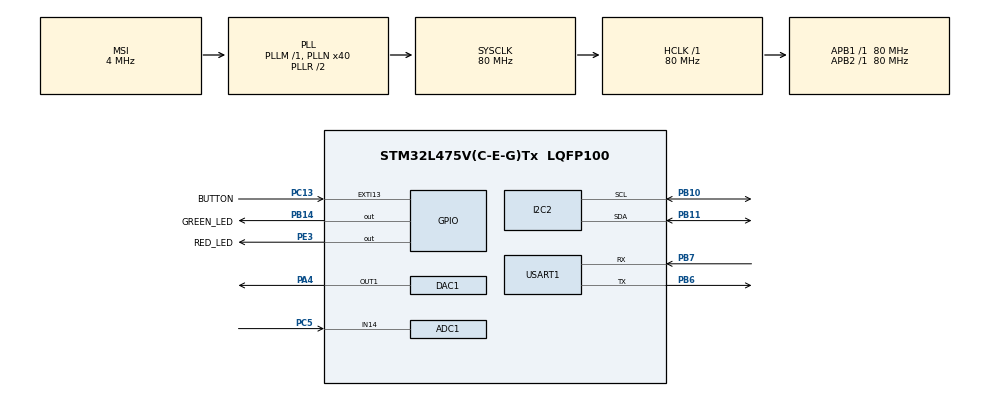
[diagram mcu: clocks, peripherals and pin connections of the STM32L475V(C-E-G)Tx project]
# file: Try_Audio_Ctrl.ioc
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ADC1.Channel-1\#ChannelRegularConversion=ADC_CHANNEL_14
ADC1.ContinuousConvMode=DISABLE
ADC1.EOCSelection=ADC_EOC_SINGLE_CONV
ADC1.NbrOfConversion=1
ADC1.NbrOfConversionFlag=1
ADC1.OffsetNumber-1\#ChannelRegularConversion=ADC_OFFSET_NONE
ADC1.Rank-1\#ChannelRegularConversion=1
ADC1.Resolution=ADC_RESOLUTION_8B
ADC1.SamplingTime-1\#ChannelRegularConversion=ADC_SAMPLETIME_2CYCLES_5
ADC1.master=1
DAC1.DAC_Trigger-DAC_OUT1=DAC_TRIGGER_T2_TRGO
Dma.DAC_CH1.0.Direction=DMA_MEMORY_TO_PERIPH
Dma.DAC_CH1.0.Instance=DMA1_Channel3
Dma.DAC_CH1.0.MemDataAlignment=DMA_MDATAALIGN_BYTE
Dma.DAC_CH1.0.MemInc=DMA_MINC_ENABLE
Dma.DAC_CH1.0.Mode=DMA_CIRCULAR
Dma.DAC_CH1.0.PeriphDataAlignment=DMA_PDATAALIGN_BYTE
Dma.DAC_CH1.0.PeriphInc=DMA_PINC_DISABLE
Dma.DAC_CH1.0.Priority=DMA_PRIORITY_LOW
Dma.Request0=DAC_CH1
I2C2.Timing=0x10909CEC
Mcu.Family=STM32L4
Mcu.Name=STM32L475V(C-E-G)Tx
Mcu.Package=LQFP100
NVIC.DMA1_Channel3_IRQn=true\:0\:0\:false\:false\:true\:false\:true
NVIC.EXTI15_10_IRQn=true\:0\:0\:false\:false\:true\:true\:true
NVIC.PriorityGroup=NVIC_PRIORITYGROUP_4
NVIC.TIM2_IRQn=true\:0\:0\:false\:false\:true\:true\:true
PA13\ (JTMS-SWDIO).Signal=SYS_JTMS-SWDIO
PA4.Signal=COMP_DAC11_group
PB10.Mode=I2C
PB10.Signal=I2C2_SCL
PB11.Mode=I2C
PB11.Signal=I2C2_SDA
PB14.GPIO_Label=GREEN_LED
PB14.Signal=GPIO_Output
PB3\ (JTDO-TRACESWO).Signal=SYS_JTDO-SWO
PB6.Mode=Asynchronous
PB6.Signal=USART1_TX
PB7.Mode=Asynchronous
PB7.Signal=USART1_RX
PC13.GPIO_Label=BUTTON
PC13.Signal=GPXTI13
PC5.Signal=ADCx_IN14
PE3.GPIO_Label=RED_LED
PE3.Signal=GPIO_Output
ProjectManager.HeapSize=0x200
ProjectManager.StackSize=0x400
ProjectManager.TargetToolchain=STM32CubeIDE
RCC.ADCFreq_Value=48000000
RCC.AHBFreq_Value=80000000
RCC.APB1Freq_Value=80000000
RCC.APB1TimFreq_Value=80000000
RCC.APB2Freq_Value=80000000
RCC.APB2TimFreq_Value=80000000
RCC.CortexFreq_Value=80000000
RCC.HCLKFreq_Value=80000000
RCC.HSE_VALUE=8000000
RCC.HSI_VALUE=16000000
RCC.LSE_VALUE=32768
RCC.MSI_VALUE=4000000
RCC.PLLN=40
RCC.PLLSAI1N=24
RCC.SYSCLKFreq_VALUE=80000000
RCC.SYSCLKSource=RCC_SYSCLKSOURCE_PLLCLK
RCC.USBFreq_Value=48000000
RCC.VCOOutputFreq_Value=160000000
SH.ADCx_IN14.0=ADC1_IN14,IN14-Single-Ended
SH.COMP_DAC11_group.0=DAC1_OUT1,DAC_OUT1
TIM2.Period=1814
TIM2.TIM_MasterOutputTrigger=TIM_TRGO_UPDATE
USART1.VirtualMode-Asynchronous=VM_ASYNC
VP_TIM2_VS_ClockSourceINT.Mode=Internal
board=B-L475E-IOT01A1

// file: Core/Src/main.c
/* USER CODE BEGIN Header */
/**
  ******************************************************************************
  * @file           : main.c
  * @brief          : Main program body
  ******************************************************************************
  * @attention
  *
  * <h2><center>&copy; Copyright (c) 2020 STMicroelectronics.
  * All rights reserved.</center></h2>
  *
  * This software component is licensed by ST under BSD 3-Clause license,
  * the "License"; You may not use this file except in compliance with the
  * License. You may obtain a copy of the License at:
  *                        opensource.org/licenses/BSD-3-Clause
  *
  ******************************************************************************
  */
/* USER CODE END Header */
#include "main.h"

/* USER CODE BEGIN Includes */
#include <stdio.h>
#include <string.h>
#include "stm32l475e_iot01_accelero.h"
#include "arm_math.h"
#define ARM_MATH_CM4
#include "mx25r6435f.h"
/* USER CODE END Includes */

/* USER CODE BEGIN PTD */
volatile enum {IDLE, HALFPT, DONE} currState;
/* USER CODE END PTD */

/* USER CODE BEGIN PD */
// DEFAULT TONE PARAMS
#define C6					1046							// frequency of the default tone
#define INIT_AMP			80								// amplitude of the default tone

// RECORDING PARAMS
#define SAMPLING_FREQ 		44100							// sampling frequency of audio data (Hz)
#define NUM_SECONDS			20								// record for 20 seconds
#define MAX_TIME_STEPS		(20*2)							// 40 (max time step for playback)
#define NUM_TOTAL_SAMPLES	(NUM_SECONDS*SAMPLING_FREQ)		// 882000 samples total for 20 seconds of recording

// FLASH READ/WRITE PARAMS
#define START_WRITE_ADR		(uint32_t)0x0000				// address of first block in FLASH memory
#define TONE_BUFFER_SIZE	2000							// 2000 samples (~0.05 seconds of samples)
#define HALF_BUFFER_SIZE	1000							// 1000 samples (~0.02 seconds of samples)
#define NUM_BLOCKS_FLASH	(uint32_t)(NUM_TOTAL_SAMPLES/MX25R6435F_BLOCK_SIZE) + 1
															// number of blocks required in memory to store all samples

/* USER CODE END PD */

ADC_HandleTypeDef hadc1;

DAC_HandleTypeDef hdac1;
DMA_HandleTypeDef hdma_dac_ch1;

I2C_HandleTypeDef hi2c2;

TIM_HandleTypeDef htim2;

UART_HandleTypeDef huart1;

/* USER CODE BEGIN PV */

// ------------------ DEFINITIONS ------------------ //
// Audio playback var definitions
uint8_t audioBuffer[TONE_BUFFER_SIZE];
uint32_t newStart = 0;
uint8_t currTimeStep = 0;

// Sensor/potentiometer reading var definitions
uint8_t volume = 0;
int16_t raw_acc[] = {0, 0, 0};
float conv_accX = 0;
float rect_limitY = 0;
char strBuf[100];

/* USER CODE END PV */

void SystemClock_Config(void);
static void MX_GPIO_Init(void);
static void MX_DMA_Init(void);
static void MX_DAC1_Init(void);
static void MX_TIM2_Init(void);
static void MX_I2C2_Init(void);
static void MX_USART1_UART_Init(void);
static void MX_ADC1_Init(void);
/* USER CODE BEGIN PFP */
// Helper function to generate a signal of any frequency and # samples
void GenerateTone(uint8_t *array, float vol, float freq, uint32_t nSamples);
void GenerateRectTone(uint8_t *array, float vol, float freq, float dist, uint32_t nSamples);
float MapFreqVal(int16_t x);
/* USER CODE END PFP */

int main(void)
{

  /* MCU Configuration--------------------------------------------------------*/

  /* Reset of all peripherals, Initializes the Flash interface and the Systick. */
  HAL_Init();

  /* Configure the system clock */
  SystemClock_Config();

  /* Initialize all configured peripherals */
  MX_GPIO_Init();
  MX_DMA_Init();
  MX_DAC1_Init();
  MX_TIM2_Init();
  MX_I2C2_Init();
  MX_USART1_UART_Init();
  MX_ADC1_Init();
  /* USER CODE BEGIN 2 */
  if (BSP_ACCELERO_Init() != ACCELERO_OK){
	  HAL_GPIO_WritePin(RED_LED_GPIO_Port, RED_LED_Pin, GPIO_PIN_RESET);
  }
  memset(&strBuf[0], 0, sizeof(strBuf));

  // Poll ADC
  HAL_ADC_Start(&hadc1);
  HAL_ADC_PollForConversion(&hadc1, HAL_MAX_DELAY);
  volume = HAL_ADC_GetValue(&hadc1)/3;
  HAL_ADC_Stop(&hadc1);

  // Poll accelerometer
  BSP_ACCELERO_AccGetXYZ(raw_acc);
  conv_accX = MapFreqVal(raw_acc[0]);

  // Generate initial tone
  GenerateTone(audioBuffer, (float)volume, conv_accX, TONE_BUFFER_SIZE);

  // Clear error led state
  HAL_GPIO_WritePin(RED_LED_GPIO_Port, RED_LED_Pin, GPIO_PIN_SET); // clear error led state

  // Start timer
  HAL_TIM_Base_Start_IT(&htim2);

  // Start DMA for DAC
  HAL_DAC_Start_DMA(&hdac1, DAC_CHANNEL_1, (uint32_t *)audioBuffer, TONE_BUFFER_SIZE, DAC_ALIGN_8B_R);

  // Start in IDLE mode:
  currState = IDLE;

  /* USER CODE END 2 */

  /* Infinite loop */
  /* USER CODE BEGIN WHILE */
  while (1)
  {
//	sprintf(strBuf, "%hu\r\n", rawPotVal);
//	HAL_UART_Transmit(&huart1, (uint8_t*)strBuf, strlen(strBuf), HAL_MAX_DELAY);
//	HAL_Delay(100);

	// ----------------------------- LOAD AUDIO SAMPLES FROM FLASH TO DAC USING DMA ------------------------------
	switch (currState){
		case IDLE:
			break;

		case HALFPT:
			// Read first half of next note into tones[]
			HAL_ADC_Start(&hadc1);
			HAL_ADC_PollForConversion(&hadc1, HAL_MAX_DELAY);
			volume = HAL_ADC_GetValue(&hadc1)/3;
			HAL_ADC_Stop(&hadc1);

			BSP_ACCELERO_AccGetXYZ(raw_acc);
			conv_accX = MapFreqVal(raw_acc[0]);
			rect_limitY = (float)raw_acc[1] / 1024;

//			GenerateTone(audioBuffer, volume, conv_accX, HALF_BUFFER_SIZE);
			GenerateRectTone(audioBuffer, volume, conv_accX, rect_limitY, HALF_BUFFER_SIZE);

			currState = IDLE;
			break;

		case DONE:
			// Read second half of curr note into tones[]
			HAL_ADC_Start(&hadc1);
			HAL_ADC_PollForConversion(&hadc1, HAL_MAX_DELAY);
			volume = HAL_ADC_GetValue(&hadc1)/3;
			HAL_ADC_Stop(&hadc1);

			BSP_ACCELERO_AccGetXYZ(raw_acc);
			conv_accX = MapFreqVal(raw_acc[0]);
			rect_limitY = (float)raw_acc[1] / 1024;

//			GenerateTone(&audioBuffer[HALF_BUFFER_SIZE-1], volume, conv_accX, HALF_BUFFER_SIZE);
			GenerateRectTone(&audioBuffer[HALF_BUFFER_SIZE-1], volume, conv_accX, rect_limitY, HALF_BUFFER_SIZE);

			currState = IDLE;
			break;
	}
	// ----------------------------------------------------------------------------------------------------------

    /* USER CODE END WHILE */

  }
}

void SystemClock_Config(void)
{
  RCC_OscInitTypeDef RCC_OscInitStruct = {0};
  RCC_ClkInitTypeDef RCC_ClkInitStruct = {0};
  RCC_PeriphCLKInitTypeDef PeriphClkInit = {0};

  /** Initializes the RCC Oscillators according to the specified parameters
  * in the RCC_OscInitTypeDef structure.
  */
  RCC_OscInitStruct.OscillatorType = RCC_OSCILLATORTYPE_MSI;
  RCC_OscInitStruct.MSIState = RCC_MSI_ON;
  RCC_OscInitStruct.MSICalibrationValue = 0;
  RCC_OscInitStruct.MSIClockRange = RCC_MSIRANGE_6;
  RCC_OscInitStruct.PLL.PLLState = RCC_PLL_ON;
  RCC_OscInitStruct.PLL.PLLSource = RCC_PLLSOURCE_MSI;
  RCC_OscInitStruct.PLL.PLLM = 1;
  RCC_OscInitStruct.PLL.PLLN = 40;
  RCC_OscInitStruct.PLL.PLLP = RCC_PLLP_DIV7;
  RCC_OscInitStruct.PLL.PLLQ = RCC_PLLQ_DIV2;
  RCC_OscInitStruct.PLL.PLLR = RCC_PLLR_DIV2;
  if (HAL_RCC_OscConfig(&RCC_OscInitStruct) != HAL_OK)
  {
    Error_Handler();
  }
  /** Initializes the CPU, AHB and APB buses clocks
  */
  RCC_ClkInitStruct.ClockType = RCC_CLOCKTYPE_HCLK|RCC_CLOCKTYPE_SYSCLK
                              |RCC_CLOCKTYPE_PCLK1|RCC_CLOCKTYPE_PCLK2;
  RCC_ClkInitStruct.SYSCLKSource = RCC_SYSCLKSOURCE_PLLCLK;
  RCC_ClkInitStruct.AHBCLKDivider = RCC_SYSCLK_DIV1;
  RCC_ClkInitStruct.APB1CLKDivider = RCC_HCLK_DIV1;
  RCC_ClkInitStruct.APB2CLKDivider = RCC_HCLK_DIV1;

  if (HAL_RCC_ClockConfig(&RCC_ClkInitStruct, FLASH_LATENCY_4) != HAL_OK)
  {
    Error_Handler();
  }
  PeriphClkInit.PeriphClockSelection = RCC_PERIPHCLK_USART1|RCC_PERIPHCLK_I2C2
                              |RCC_PERIPHCLK_ADC;
  PeriphClkInit.Usart1ClockSelection = RCC_USART1CLKSOURCE_PCLK2;
  PeriphClkInit.I2c2ClockSelection = RCC_I2C2CLKSOURCE_PCLK1;
  PeriphClkInit.AdcClockSelection = RCC_ADCCLKSOURCE_PLLSAI1;
  PeriphClkInit.PLLSAI1.PLLSAI1Source = RCC_PLLSOURCE_MSI;
  PeriphClkInit.PLLSAI1.PLLSAI1M = 1;
  PeriphClkInit.PLLSAI1.PLLSAI1N = 24;
  PeriphClkInit.PLLSAI1.PLLSAI1P = RCC_PLLP_DIV7;
  PeriphClkInit.PLLSAI1.PLLSAI1Q = RCC_PLLQ_DIV2;
  PeriphClkInit.PLLSAI1.PLLSAI1R = RCC_PLLR_DIV2;
  PeriphClkInit.PLLSAI1.PLLSAI1ClockOut = RCC_PLLSAI1_ADC1CLK;
  if (HAL_RCCEx_PeriphCLKConfig(&PeriphClkInit) != HAL_OK)
  {
    Error_Handler();
  }
  /** Configure the main internal regulator output voltage
  */
  if (HAL_PWREx_ControlVoltageScaling(PWR_REGULATOR_VOLTAGE_SCALE1) != HAL_OK)
  {
    Error_Handler();
  }
}

static void MX_ADC1_Init(void)
{

  ADC_MultiModeTypeDef multimode = {0};
  ADC_ChannelConfTypeDef sConfig = {0};

  /** Common config
  */
  hadc1.Instance = ADC1;
  hadc1.Init.ClockPrescaler = ADC_CLOCK_ASYNC_DIV1;
  hadc1.Init.Resolution = ADC_RESOLUTION_8B;
  hadc1.Init.DataAlign = ADC_DATAALIGN_RIGHT;
  hadc1.Init.ScanConvMode = ADC_SCAN_DISABLE;
  hadc1.Init.EOCSelection = ADC_EOC_SINGLE_CONV;
  hadc1.Init.LowPowerAutoWait = DISABLE;
  hadc1.Init.ContinuousConvMode = DISABLE;
  hadc1.Init.NbrOfConversion = 1;
  hadc1.Init.DiscontinuousConvMode = DISABLE;
  hadc1.Init.ExternalTrigConv = ADC_SOFTWARE_START;
  hadc1.Init.ExternalTrigConvEdge = ADC_EXTERNALTRIGCONVEDGE_NONE;
  hadc1.Init.DMAContinuousRequests = DISABLE;
  hadc1.Init.Overrun = ADC_OVR_DATA_PRESERVED;
  hadc1.Init.OversamplingMode = DISABLE;
  if (HAL_ADC_Init(&hadc1) != HAL_OK)
  {
    Error_Handler();
  }
  /** Configure the ADC multi-mode
  */
  multimode.Mode = ADC_MODE_INDEPENDENT;
  if (HAL_ADCEx_MultiModeConfigChannel(&hadc1, &multimode) != HAL_OK)
  {
    Error_Handler();
  }
  /** Configure Regular Channel
  */
  sConfig.Channel = ADC_CHANNEL_14;
  sConfig.Rank = ADC_REGULAR_RANK_1;
  sConfig.SamplingTime = ADC_SAMPLETIME_2CYCLES_5;
  sConfig.SingleDiff = ADC_SINGLE_ENDED;
  sConfig.OffsetNumber = ADC_OFFSET_NONE;
  sConfig.Offset = 0;
  if (HAL_ADC_ConfigChannel(&hadc1, &sConfig) != HAL_OK)
  {
    Error_Handler();
  }

}

static void MX_DAC1_Init(void)
{

  DAC_ChannelConfTypeDef sConfig = {0};

  /** DAC Initialization
  */
  hdac1.Instance = DAC1;
  if (HAL_DAC_Init(&hdac1) != HAL_OK)
  {
    Error_Handler();
  }
  /** DAC channel OUT1 config
  */
  sConfig.DAC_SampleAndHold = DAC_SAMPLEANDHOLD_DISABLE;
  sConfig.DAC_Trigger = DAC_TRIGGER_T2_TRGO;
  sConfig.DAC_OutputBuffer = DAC_OUTPUTBUFFER_ENABLE;
  sConfig.DAC_ConnectOnChipPeripheral = DAC_CHIPCONNECT_DISABLE;
  sConfig.DAC_UserTrimming = DAC_TRIMMING_FACTORY;
  if (HAL_DAC_ConfigChannel(&hdac1, &sConfig, DAC_CHANNEL_1) != HAL_OK)
  {
    Error_Handler();
  }

}

static void MX_I2C2_Init(void)
{

  hi2c2.Instance = I2C2;
  hi2c2.Init.Timing = 0x10909CEC;
  hi2c2.Init.OwnAddress1 = 0;
  hi2c2.Init.AddressingMode = I2C_ADDRESSINGMODE_7BIT;
  hi2c2.Init.DualAddressMode = I2C_DUALADDRESS_DISABLE;
  hi2c2.Init.OwnAddress2 = 0;
  hi2c2.Init.OwnAddress2Masks = I2C_OA2_NOMASK;
  hi2c2.Init.GeneralCallMode = I2C_GENERALCALL_DISABLE;
  hi2c2.Init.NoStretchMode = I2C_NOSTRETCH_DISABLE;
  if (HAL_I2C_Init(&hi2c2) != HAL_OK)
  {
    Error_Handler();
  }
  /** Configure Analogue filter
  */
  if (HAL_I2CEx_ConfigAnalogFilter(&hi2c2, I2C_ANALOGFILTER_ENABLE) != HAL_OK)
  {
    Error_Handler();
  }
  /** Configure Digital filter
  */
  if (HAL_I2CEx_ConfigDigitalFilter(&hi2c2, 0) != HAL_OK)
  {
    Error_Handler();
  }

}

static void MX_TIM2_Init(void)
{

  TIM_ClockConfigTypeDef sClockSourceConfig = {0};
  TIM_MasterConfigTypeDef sMasterConfig = {0};

  htim2.Instance = TIM2;
  htim2.Init.Prescaler = 0;
  htim2.Init.CounterMode = TIM_COUNTERMODE_UP;
  htim2.Init.Period = 1814;
  htim2.Init.ClockDivision = TIM_CLOCKDIVISION_DIV1;
  htim2.Init.AutoReloadPreload = TIM_AUTORELOAD_PRELOAD_DISABLE;
  if (HAL_TIM_Base_Init(&htim2) != HAL_OK)
  {
    Error_Handler();
  }
  sClockSourceConfig.ClockSource = TIM_CLOCKSOURCE_INTERNAL;
  if (HAL_TIM_ConfigClockSource(&htim2, &sClockSourceConfig) != HAL_OK)
  {
    Error_Handler();
  }
  sMasterConfig.MasterOutputTrigger = TIM_TRGO_UPDATE;
  sMasterConfig.MasterSlaveMode = TIM_MASTERSLAVEMODE_DISABLE;
  if (HAL_TIMEx_MasterConfigSynchronization(&htim2, &sMasterConfig) != HAL_OK)
  {
    Error_Handler();
  }

}

static void MX_USART1_UART_Init(void)
{

  huart1.Instance = USART1;
  huart1.Init.BaudRate = 115200;
  huart1.Init.WordLength = UART_WORDLENGTH_8B;
  huart1.Init.StopBits = UART_STOPBITS_1;
  huart1.Init.Parity = UART_PARITY_NONE;
  huart1.Init.Mode = UART_MODE_TX_RX;
  huart1.Init.HwFlowCtl = UART_HWCONTROL_NONE;
  huart1.Init.OverSampling = UART_OVERSAMPLING_16;
  huart1.Init.OneBitSampling = UART_ONE_BIT_SAMPLE_DISABLE;
  huart1.AdvancedInit.AdvFeatureInit = UART_ADVFEATURE_NO_INIT;
  if (HAL_UART_Init(&huart1) != HAL_OK)
  {
    Error_Handler();
  }

}

static void MX_DMA_Init(void)
{

  /* DMA controller clock enable */
  __HAL_RCC_DMA1_CLK_ENABLE();

  /* DMA interrupt init */
  /* DMA1_Channel3_IRQn interrupt configuration */
  HAL_NVIC_SetPriority(DMA1_Channel3_IRQn, 0, 0);
  HAL_NVIC_EnableIRQ(DMA1_Channel3_IRQn);

}

static void MX_GPIO_Init(void)
{
  GPIO_InitTypeDef GPIO_InitStruct = {0};

  /* GPIO Ports Clock Enable */
  __HAL_RCC_GPIOE_CLK_ENABLE();
  __HAL_RCC_GPIOC_CLK_ENABLE();
  __HAL_RCC_GPIOA_CLK_ENABLE();
  __HAL_RCC_GPIOB_CLK_ENABLE();

  /*Configure GPIO pin Output Level */
  HAL_GPIO_WritePin(RED_LED_GPIO_Port, RED_LED_Pin, GPIO_PIN_RESET);

  /*Configure GPIO pin Output Level */
  HAL_GPIO_WritePin(GREEN_LED_GPIO_Port, GREEN_LED_Pin, GPIO_PIN_RESET);

  /*Configure GPIO pin : RED_LED_Pin */
  GPIO_InitStruct.Pin = RED_LED_Pin;
  GPIO_InitStruct.Mode = GPIO_MODE_OUTPUT_PP;
  GPIO_InitStruct.Pull = GPIO_NOPULL;
  GPIO_InitStruct.Speed = GPIO_SPEED_FREQ_LOW;
  HAL_GPIO_Init(RED_LED_GPIO_Port, &GPIO_InitStruct);

  /*Configure GPIO pin : BUTTON_Pin */
  GPIO_InitStruct.Pin = BUTTON_Pin;
  GPIO_InitStruct.Mode = GPIO_MODE_IT_RISING;
  GPIO_InitStruct.Pull = GPIO_NOPULL;
  HAL_GPIO_Init(BUTTON_GPIO_Port, &GPIO_InitStruct);

  /*Configure GPIO pin : GREEN_LED_Pin */
  GPIO_InitStruct.Pin = GREEN_LED_Pin;
  GPIO_InitStruct.Mode = GPIO_MODE_OUTPUT_PP;
  GPIO_InitStruct.Pull = GPIO_NOPULL;
  GPIO_InitStruct.Speed = GPIO_SPEED_FREQ_LOW;
  HAL_GPIO_Init(GREEN_LED_GPIO_Port, &GPIO_InitStruct);

  /* EXTI interrupt init*/
  HAL_NVIC_SetPriority(EXTI15_10_IRQn, 0, 0);
  HAL_NVIC_EnableIRQ(EXTI15_10_IRQn);

}

/* USER CODE BEGIN 4 */

void GenerateTone(uint8_t *array, float vol, float freq, uint32_t nSamples){
	float twopi = 6.283185307;
	float angStep = twopi * freq / SAMPLING_FREQ;
	float currAngle = 0;

	for (uint32_t i = 0; i < (nSamples); i++){
		currAngle = i * angStep;
		array[i] = (uint8_t)(vol + (vol * arm_sin_f32(currAngle)));
	}

}

void GenerateRectTone(uint8_t *array, float vol, float freq, float dist, uint32_t nSamples){
	float twopi = 6.283185307;
	float angStep = twopi * freq / SAMPLING_FREQ;
	float currAngle = 0;
	float tempSample = vol;

	for (uint32_t i = 0; i < (nSamples); i++){
		currAngle = i * angStep;
		tempSample = arm_sin_f32(currAngle);
		if (tempSample > dist)
			array[i] = (uint8_t)(vol + vol*tempSample);
		else
			array[i] = 0;
	}

}

float MapFreqVal(int16_t x){

  float x_l;
  if (x < -1000){
	  x_l = -1000;
  }
  else{
	  x_l = (float)x;
  }

//  float in_min = -1000;
//  float in_max = 1000;
//  float out_min = 4300;
//  float out_max = 300;
//  return (((x_l - in_min) * (out_max - out_min) / (in_max - in_min) + out_min));
  return (((x_l + 1000) * (-2) + 4300));
}

void HAL_DAC_ConvHalfCpltCallbackCh1(DAC_HandleTypeDef *hdac){
	if (hdac->Instance == DAC1){
		currState = HALFPT;
	}
}

void HAL_DAC_ConvCpltCallbackCh1(DAC_HandleTypeDef *hdac){
	if (hdac->Instance == DAC1){
		currState = DONE;
	}
}

/* USER CODE END 4 */

void Error_Handler(void)
{
  /* USER CODE BEGIN Error_Handler_Debug */
  /* User can add his own implementation to report the HAL error return state */
  HAL_GPIO_WritePin(RED_LED_GPIO_Port, RED_LED_Pin, GPIO_PIN_RESET);
  __BKPT();
  /* USER CODE END Error_Handler_Debug */
}

/************************ (C) COPYRIGHT STMicroelectronics *****END OF FILE****/
